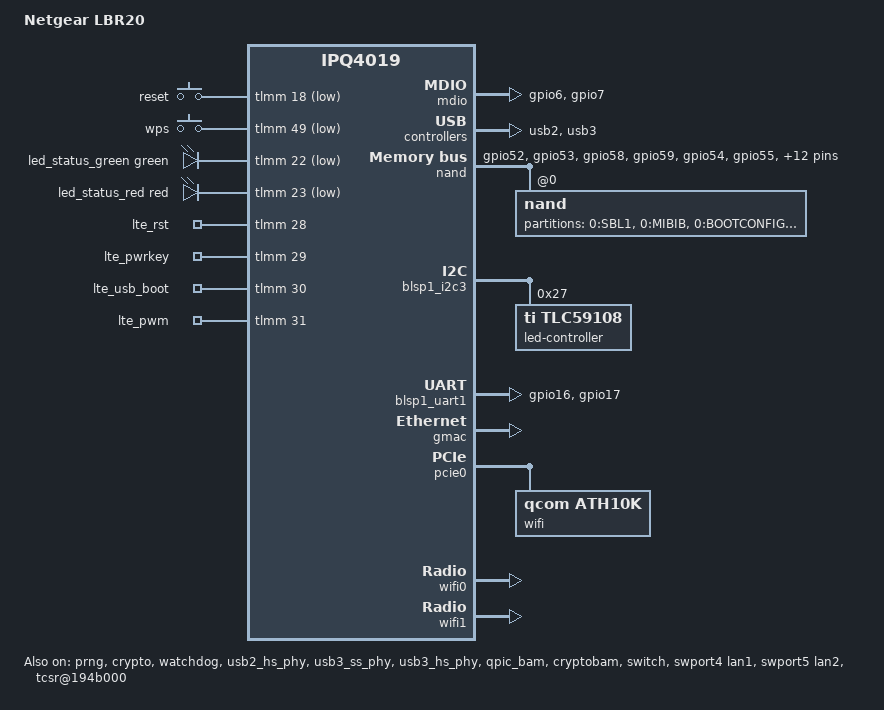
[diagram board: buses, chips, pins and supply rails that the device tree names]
// SPDX-License-Identifier: GPL-2.0-or-later OR MIT

#include "qcom-ipq4019.dtsi"
#include <dt-bindings/gpio/gpio.h>
#include <dt-bindings/input/input.h>
#include <dt-bindings/soc/qcom,tcsr.h>
#include <dt-bindings/leds/common.h>

/ {
	model = "Netgear LBR20";
	compatible = "netgear,lbr20";

	chosen {
		bootargs-append = "ubi.mtd=ubi root=/dev/ubiblock0_0";
	};

	aliases {
		led-boot = &led_backlight_white;
		led-failsafe = &led_status_green;
		led-running = &led_status_green;
		led-upgrade = &led_status_red;
		label-mac-device = &gmac;
	};

	keys {
		compatible = "gpio-keys";

		reset {
			label = "reset";
			gpios = <&tlmm 18 GPIO_ACTIVE_LOW>;
			linux,code = <KEY_RESTART>;
		};

		wps {
			label = "wps";
			gpios = <&tlmm 49 GPIO_ACTIVE_LOW>;
			linux,code = <KEY_WPS_BUTTON>;
		};
	};

	leds {
		compatible = "gpio-leds";

		led_status_green: led-status-green {
			function = LED_FUNCTION_STATUS;
			color = <LED_COLOR_ID_GREEN>;
			gpios = <&tlmm 22 GPIO_ACTIVE_LOW>;
			default-state = "keep";
		};

		led_status_red: led-status-red {
			function = LED_FUNCTION_STATUS;
			color = <LED_COLOR_ID_RED>;
			gpios = <&tlmm 23 GPIO_ACTIVE_LOW>;
		};
	};

	gpio_export {
		compatible = "gpio-export";
		#size-cells = <0>;

		lte_rst {
			gpio-export,name = "lte_rst";
			gpio-export,output = <1>;
			gpios = <&tlmm 28 GPIO_ACTIVE_HIGH>;
		};

		lte_pwrkey {
			gpio-export,name = "lte_pwrkey";
			gpio-export,output = <1>;
			gpios = <&tlmm 29 GPIO_ACTIVE_HIGH>;
		};

		lte_usb_boot {
			gpio-export,name = "lte_usb_boot";
			gpio-export,output = <0>;
			gpios = <&tlmm 30 GPIO_ACTIVE_HIGH>;
		};

		lte_pwm {
			gpio-export,name = "lte_pwm";
			gpio-export,output = <1>;
			gpios = <&tlmm 31 GPIO_ACTIVE_HIGH>;
		};

	};

	soc {

		tcsr@1949000 {
			compatible = "qcom,tcsr";
			reg = <0x1949000 0x100>;
			qcom,wifi_glb_cfg = <TCSR_WIFI_GLB_CFG>;
		};

		tcsr@194b000 {
			status = "okay";

			compatible = "qcom,tcsr";
			reg = <0x194b000 0x100>;
			qcom,usb-hsphy-mode-select = <TCSR_USB_HSPHY_HOST_MODE>;
		};

		ess_tcsr@1953000 {
			compatible = "qcom,tcsr";
			reg = <0x1953000 0x1000>;
			qcom,ess-interface-select = <TCSR_ESS_PSGMII>;
		};

		tcsr@1957000 {
			compatible = "qcom,tcsr";
			reg = <0x1957000 0x100>;
			qcom,wifi_noc_memtype_m0_m2 = <TCSR_WIFI_NOC_MEMTYPE_M0_M2>;
		};
		
	};
};

&prng {
	status = "okay";
};

&mdio {
	status = "okay";
	pinctrl-0 = <&mdio_pins>;
	pinctrl-names = "default";
};

&crypto {
	status = "okay";
};

&watchdog {
	status = "okay";
};

&usb2_hs_phy {
	status = "okay";
};

&usb2 {
	status = "okay";
};

&usb3_ss_phy {
	status = "okay";
};

&usb3_hs_phy {
	status = "okay";
};

&usb3 {
	status = "okay";
};

&blsp_dma {
	status = "okay";
};

&qpic_bam {
	status = "okay";
};

&tlmm {
	mdio_pins: mdio-pinmux {
		mux_mdio {
			pins = "gpio6";
			function = "mdio";
			bias-pull-up;
		};

		mux_mdc {
			pins = "gpio7";
			function = "mdc";
			bias-pull-up;
		};
	};

	serial_pins: serial-pinmux {
		function = "blsp_uart0";
		pins = "gpio16", "gpio17";
		bias-disable;
	};

	nand_pins: nand-pins {
		pullups {
			pins =	"gpio52", "gpio53", "gpio58", "gpio59";
			function = "qpic";
			bias-pull-up;
		};

		pulldowns {
			pins =	"gpio54", "gpio55", "gpio56",
				"gpio57", "gpio60", "gpio61",
				"gpio62", "gpio63", "gpio64",
				"gpio65", "gpio66", "gpio67",
				"gpio68", "gpio69";
			function = "qpic";
			bias-pull-down;
		};
	};
};

&nand {
	pinctrl-0 = <&nand_pins>;
	pinctrl-names = "default";
	status = "okay";

	nand@0 {
		partitions {
			compatible = "fixed-partitions";
			#address-cells = <1>;
			#size-cells = <1>;

			partition@0 {
				label = "0:SBL1";
				reg = <0x00000000 0x00100000>;
				read-only;
			};

			partition@100000 {
				label = "0:MIBIB";
				reg = <0x00100000 0x00100000>;
				read-only;
			};

			partition@200000 {
				label = "0:BOOTCONFIG";
				reg = <0x00200000 0x00100000>;
				read-only;
			};

			partition@300000 {
				label = "0:QSEE";
				reg = <0x00300000 0x00100000>;
				read-only;
			};

			partition@400000 {
				label = "0:QSEE_1";
				reg = <0x00400000 0x00100000>;
				read-only;
			};

			partition@500000 {
				label = "0:CDT";
				reg = <0x00500000 0x00080000>;
				read-only;
			};

			partition@580000 {
				label = "0:CDT_1";
				reg = <0x00580000 0x00080000>;
				read-only;
			};

			partition@600000 {
				label = "0:BOOTCONFIG1";
				reg = <0x00600000 0x00080000>;
				read-only;
			};

			partition@680000 {
				label = "0:APPSBLENV";
				reg = <0x00680000 0x00080000>;
			};

			partition@700000 {
				label = "0:APPSBL";
				reg = <0x00700000 0x00200000>;
				read-only;
			};

			partition@900000 {
				label = "0:APPSBL_1";
				reg = <0x00900000 0x00200000>;
				read-only;
			};

			partition@b00000 {
				label = "0:ART";
				reg = <0x00b00000 0x00080000>;
				read-only;

				nvmem-layout {
					compatible = "fixed-layout";
					#address-cells = <1>;
					#size-cells = <1>;

					precal_art_1000: precal@1000 {
						reg = <0x1000 0x2f20>;
					};

					precal_art_5000: precal@5000 {
						reg = <0x5000 0x2f20>;
					};

					precal_art_9000: precal@9000 {
						reg = <0x9000 0x2f20>;
					};

				};
			};

			partition@b80000 {
				label = "0:ART.bak";
				reg = <0x00b80000 0x00080000>;
				read-only;
			};

			partition@c00000 {
				label = "config";
				reg = <0x00c00000 0x00100000>;
				read-only;
			};

			partition@d00000 {
				label = "boarddata1";
				reg = <0x00d00000 0x00080000>;
				read-only;
				
				nvmem-layout {
					compatible = "fixed-layout";
					#address-cells = <1>;
					#size-cells = <1>;

					mac_address_lan: macaddr@0 {
						compatible = "mac-base";
						reg = <0x0 0x6>;
						#nvmem-cell-cells = <1>;
					};

					mac_address_wan: macaddr@6 {
						compatible = "mac-base";
						reg = <0x6 0x6>;
						#nvmem-cell-cells = <1>;
					};

					mac_address_wlan_5g: macaddr@c {
						compatible = "mac-base";
						reg = <0xc 0x6>;
						#nvmem-cell-cells = <1>;
					};

					mac_address_wlan_2nd5g: macaddr@12 {
						compatible = "mac-base";
						reg = <0x12 0x6>;
						#nvmem-cell-cells = <1>;
					};

				};
			};

			partition@d80000 {
				label = "boarddata2";
				reg = <0x00d80000 0x00040000>;
				read-only;
			};

			partition@dc0000 {
				label = "pot";
				reg = <0x00dc0000 0x00100000>;
				read-only;
			};

			partition@ec0000 {
				label = "boarddata1.bak";
				reg = <0x00ec0000 0x00080000>;
				read-only;
			};

			partition@f40000 {
				label = "boarddata2.bak";
				reg = <0x00f40000 0x00040000>;
				read-only;
			};

			partition@f80000 {
				label = "language";
				reg = <0x00f80000 0x00300000>;
				read-only;
			};

			partition@1280000 {
				label = "cert";
				reg = <0x01280000 0x00080000>;
				read-only;
			};

			partition@1300000 {
				label = "ntgrdata";
				reg = <0x01300000 0x09300000>;
			};

			partition@a600000 {
				label = "kernel";
				reg = <0x0a600000 0x00700000>;
			};

			partition@a9c0000 {
				label = "ubi";
				reg = <0x0ad00000 0x05300000>;
			};

		};
	};
};

&blsp1_i2c3 {
	status = "okay";

	led-controller {
		#address-cells = <1>;
		#size-cells = <0>;
		compatible = "ti,tlc59108"; /* really is tlc59208f */
		reg = <0x27>;

		led_backlight_green: led-backlight-green {
			function = LED_FUNCTION_BACKLIGHT;
			color = <LED_COLOR_ID_GREEN>;
			reg = <0x0>;
			linux,default-trigger = "default-off";
		};

		led_backlight_red: led-backlight-red {
			function = LED_FUNCTION_BACKLIGHT;
			color = <LED_COLOR_ID_RED>;
			reg = <0x1>;
			linux,default-trigger = "default-off";
		};

		led_backlight_blue: led-backlight-blue {
			function = LED_FUNCTION_BACKLIGHT;
			color = <LED_COLOR_ID_BLUE>;
			reg = <0x2>;
			linux,default-trigger = "default-off";
		};

		led_backlight_white: led-backlight-white {
			function = LED_FUNCTION_BACKLIGHT;
			color = <LED_COLOR_ID_WHITE>;
			reg = <0x3>;
			linux,default-trigger = "default-off";
		};

	};
};

&blsp1_uart1 {
	status = "okay";
	pinctrl-0 = <&serial_pins>;
	pinctrl-names = "default";
};

&cryptobam {
	status = "okay";
};

&gmac {
	status = "okay";
	nvmem-cell-names = "mac-address";
	nvmem-cells = <&mac_address_lan 0>;
};

&switch {
	status = "okay";
};

&swport4 {
	status = "okay";
	label = "lan1";
};

&swport5 {
	status = "okay";
	label = "lan2";
};

&pcie0 {
	status = "okay";
	perst-gpios = <&tlmm 38 GPIO_ACTIVE_LOW>;
	wake-gpios = <&tlmm 50 GPIO_ACTIVE_LOW>;

	bridge@0,0 {
		reg = <0x00000000 0 0 0 0>;
		#address-cells = <3>;
		#size-cells = <2>;
		ranges;

		wifi@1,0 {
			compatible = "qcom,ath10k";
			status = "okay";
			reg = <0x00010000 0 0 0 0>;
			ieee80211-freq-limit = <5170000 5350000>;
			nvmem-cell-names = "pre-calibration", "mac-address";
			nvmem-cells = <&precal_art_9000>, <&mac_address_wlan_2nd5g 0>;
			qcom,ath10k-calibration-variant = "Netgear-LBR20";
		};
	};
};

&wifi0 {
	status = "okay";
	nvmem-cell-names = "pre-calibration", "mac-address";
	nvmem-cells = <&precal_art_1000>, <&mac_address_lan 0>;
	qcom,ath10k-calibration-variant = "Netgear-LBR20";
};

&wifi1 {
	status = "okay";
	ieee80211-freq-limit = <5470000 5815000>;
	nvmem-cell-names = "pre-calibration", "mac-address";
	nvmem-cells = <&precal_art_5000>, <&mac_address_wlan_5g 0>;
	qcom,ath10k-calibration-variant = "Netgear-LBR20";
};
